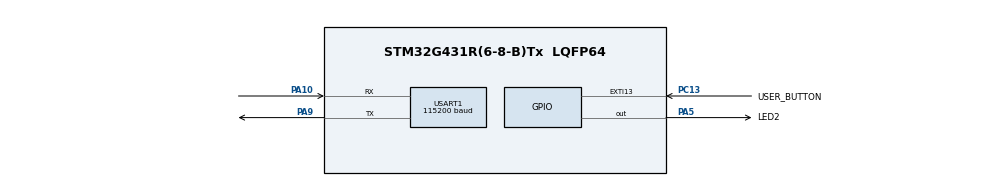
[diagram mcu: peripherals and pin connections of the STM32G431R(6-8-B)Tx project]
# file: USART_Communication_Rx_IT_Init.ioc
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Mcu.Family=STM32G4
Mcu.Name=STM32G431R(6-8-B)Tx
Mcu.Package=LQFP64
NVIC.EXTI15_10_IRQn=true\:3\:0\:true\:false\:true\:true\:true\:true
NVIC.PriorityGroup=NVIC_PRIORITYGROUP_4
NVIC.USART1_IRQn=true\:0\:0\:false\:false\:true\:true\:true\:true
PA10.GPIO_PuPd=GPIO_PULLUP
PA10.GPIO_Speed=GPIO_SPEED_FREQ_HIGH
PA10.Mode=Asynchronous
PA10.Signal=USART1_RX
PA5.GPIO_Label=LED2
PA5.GPIO_PuPd=GPIO_NOPULL
PA5.Signal=GPIO_Output
PA9.GPIO_PuPd=GPIO_PULLUP
PA9.GPIO_Speed=GPIO_SPEED_FREQ_HIGH
PA9.Mode=Asynchronous
PA9.Signal=USART1_TX
PC13.GPIO_Label=USER_BUTTON
PC13.GPIO_ModeDefaultEXTI=GPIO_MODE_IT_FALLING
PC13.GPIO_PuPd=GPIO_NOPULL
PC13.Signal=GPXTI13
ProjectManager.HeapSize=0x200
ProjectManager.StackSize=0x400
ProjectManager.TargetToolchain=EWARM V8.32
RCC.ADC12Freq_Value=170000000
RCC.AHBFreq_Value=170000000
RCC.APB1Freq_Value=170000000
RCC.APB1TimFreq_Value=170000000
RCC.APB2Freq_Value=170000000
RCC.APB2TimFreq_Value=170000000
RCC.CortexFreq_Value=170000000
RCC.EXTERNAL_CLOCK_VALUE=12288000
RCC.HCLKFreq_Value=170000000
RCC.HSE_VALUE=24000000
RCC.HSI48_VALUE=48000000
RCC.HSI_VALUE=16000000
RCC.LSE_VALUE=32768
RCC.PLLM=RCC_PLLM_DIV4
RCC.PLLN=85
RCC.SYSCLKFreq_VALUE=170000000
RCC.SYSCLKSource=RCC_SYSCLKSOURCE_PLLCLK
RCC.USBFreq_Value=170000000
RCC.VCOOutputFreq_Value=340000000
USART1.AutoBaudRateEnableParam=UART_ADVFEATURE_AUTOBAUDRATE_DISABLE
USART1.BaudRate=115200
USART1.ClockPrescaler=PRESCALER_DIV1
USART1.DMADisableonRxErrorParam=ADVFEATURE_DMA_ENABLEONRXERROR
USART1.DataInvertParam=ADVFEATURE_DATAINV_DISABLE
USART1.FIFOMode=FIFOMODE_DISABLE
USART1.MSBFirstParam=ADVFEATURE_MSBFIRST_DISABLE
USART1.Mode=MODE_TX_RX
USART1.OneBitSampling=UART_ONE_BIT_SAMPLE_DISABLE
USART1.OverSampling=UART_OVERSAMPLING_16
USART1.OverrunDisableParam=ADVFEATURE_OVERRUN_ENABLE
USART1.Parity=PARITY_NONE
USART1.RXFIFOThreshold=RXFIFO_THRESHOLD_1EIGHTHFULL
USART1.RxPinLevelInvertParam=ADVFEATURE_RXINV_DISABLE
USART1.StopBits=STOPBITS_1
USART1.SwapParam=ADVFEATURE_SWAP_DISABLE
USART1.TXFIFOThreshold=TXFIFO_THRESHOLD_1EIGHTHFULL
USART1.TxPinLevelInvertParam=ADVFEATURE_TXINV_DISABLE
USART1.VirtualMode-Asynchronous=VM_ASYNC
USART1.WordLength=WORDLENGTH_8B
VP_SYS_VS_DBSignals.Mode=DisableDeadBatterySignals
board=custom

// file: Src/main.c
/* USER CODE BEGIN Header */
/**
  ******************************************************************************
  * @file    Examples_LL/USART/USART_Communication_Rx_IT_Init/Src/main.c
  * @author  MCD Application Team
  * @brief   This example describes how to send bytes over USART IP using
  *          the STM32G4xx USART LL API.
  *          Peripheral initialization done using LL initialization function.
  ******************************************************************************
  * @attention
  *
  * Copyright (c) 2019 STMicroelectronics.
  * All rights reserved.
  *
  * This software is licensed under terms that can be found in the LICENSE file
  * in the root directory of this software component.
  * If no LICENSE file comes with this software, it is provided AS-IS.
  *
  ******************************************************************************
  */
/* USER CODE END Header */
#include "main.h"

void SystemClock_Config(void);
static void MX_GPIO_Init(void);
static void MX_USART1_UART_Init(void);
/* USER CODE BEGIN PFP */
void     LED_On(void);
void     LED_Off(void);
void     LED_Blinking(uint32_t Period);
/* USER CODE END PFP */

int main(void)
{

  /* MCU Configuration--------------------------------------------------------*/

  /* Reset of all peripherals, Initializes the Flash interface and the Systick. */

  LL_APB2_GRP1_EnableClock(LL_APB2_GRP1_PERIPH_SYSCFG);
  LL_APB1_GRP1_EnableClock(LL_APB1_GRP1_PERIPH_PWR);

  NVIC_SetPriorityGrouping(NVIC_PRIORITYGROUP_4);

  /* System interrupt init*/

  /** Disable the internal Pull-Up in Dead Battery pins of UCPD peripheral
  */
  LL_PWR_DisableUCPDDeadBattery();

  /* Configure the system clock */
  SystemClock_Config();

  /* Initialize all configured peripherals */
  MX_GPIO_Init();
  MX_USART1_UART_Init();
  /* USER CODE BEGIN 2 */

  /* Polling USART initialisation */
  while ((!(LL_USART_IsActiveFlag_TEACK(USART1))) || (!(LL_USART_IsActiveFlag_REACK(USART1))))
  {
  }

  /* Enable RXNE and Error interrupts */
  LL_USART_EnableIT_RXNE(USART1);
  LL_USART_EnableIT_ERROR(USART1);

  /* Set LED2 Off */
  LED_Off();

  /* USER CODE END 2 */

  /* Infinite loop */
  while (1)
  {

  }
}

void SystemClock_Config(void)
{
  LL_FLASH_SetLatency(LL_FLASH_LATENCY_4);
  while(LL_FLASH_GetLatency() != LL_FLASH_LATENCY_4)
  {
  }
  LL_PWR_EnableRange1BoostMode();
  LL_RCC_HSI_Enable();
   /* Wait till HSI is ready */
  while(LL_RCC_HSI_IsReady() != 1)
  {
  }

  LL_RCC_HSI_SetCalibTrimming(64);
  LL_RCC_PLL_ConfigDomain_SYS(LL_RCC_PLLSOURCE_HSI, LL_RCC_PLLM_DIV_4, 85, LL_RCC_PLLR_DIV_2);
  LL_RCC_PLL_EnableDomain_SYS();
  LL_RCC_PLL_Enable();
   /* Wait till PLL is ready */
  while(LL_RCC_PLL_IsReady() != 1)
  {
  }

  LL_RCC_SetSysClkSource(LL_RCC_SYS_CLKSOURCE_PLL);
  LL_RCC_SetAHBPrescaler(LL_RCC_SYSCLK_DIV_2);
   /* Wait till System clock is ready */
  while(LL_RCC_GetSysClkSource() != LL_RCC_SYS_CLKSOURCE_STATUS_PLL)
  {
  }

  /* Insure 1µs transition state at intermediate medium speed clock based on DWT */
  CoreDebug->DEMCR |= CoreDebug_DEMCR_TRCENA_Msk;
  DWT->CTRL |= DWT_CTRL_CYCCNTENA_Msk;
  DWT->CYCCNT = 0;
  while(DWT->CYCCNT < 100);
  /* Set AHB prescaler*/
  LL_RCC_SetAHBPrescaler(LL_RCC_SYSCLK_DIV_1);
  LL_RCC_SetAPB1Prescaler(LL_RCC_APB1_DIV_1);
  LL_RCC_SetAPB2Prescaler(LL_RCC_APB2_DIV_1);

  LL_Init1msTick(170000000);

  LL_SetSystemCoreClock(170000000);
}

static void MX_USART1_UART_Init(void)
{

  LL_USART_InitTypeDef USART_InitStruct = {0};

  LL_GPIO_InitTypeDef GPIO_InitStruct = {0};

  LL_RCC_SetUSARTClockSource(LL_RCC_USART1_CLKSOURCE_PCLK2);

  /* Peripheral clock enable */
  LL_APB2_GRP1_EnableClock(LL_APB2_GRP1_PERIPH_USART1);

  LL_AHB2_GRP1_EnableClock(LL_AHB2_GRP1_PERIPH_GPIOA);
  /**USART1 GPIO Configuration
  PA9   ------> USART1_TX
  PA10   ------> USART1_RX
  */
  GPIO_InitStruct.Pin = LL_GPIO_PIN_9;
  GPIO_InitStruct.Mode = LL_GPIO_MODE_ALTERNATE;
  GPIO_InitStruct.Speed = LL_GPIO_SPEED_FREQ_HIGH;
  GPIO_InitStruct.OutputType = LL_GPIO_OUTPUT_PUSHPULL;
  GPIO_InitStruct.Pull = LL_GPIO_PULL_UP;
  GPIO_InitStruct.Alternate = LL_GPIO_AF_7;
  LL_GPIO_Init(GPIOA, &GPIO_InitStruct);

  GPIO_InitStruct.Pin = LL_GPIO_PIN_10;
  GPIO_InitStruct.Mode = LL_GPIO_MODE_ALTERNATE;
  GPIO_InitStruct.Speed = LL_GPIO_SPEED_FREQ_HIGH;
  GPIO_InitStruct.OutputType = LL_GPIO_OUTPUT_PUSHPULL;
  GPIO_InitStruct.Pull = LL_GPIO_PULL_UP;
  GPIO_InitStruct.Alternate = LL_GPIO_AF_7;
  LL_GPIO_Init(GPIOA, &GPIO_InitStruct);

  /* USART1 interrupt Init */
  NVIC_SetPriority(USART1_IRQn, NVIC_EncodePriority(NVIC_GetPriorityGrouping(),0, 0));
  NVIC_EnableIRQ(USART1_IRQn);

  USART_InitStruct.PrescalerValue = LL_USART_PRESCALER_DIV1;
  USART_InitStruct.BaudRate = 115200;
  USART_InitStruct.DataWidth = LL_USART_DATAWIDTH_8B;
  USART_InitStruct.StopBits = LL_USART_STOPBITS_1;
  USART_InitStruct.Parity = LL_USART_PARITY_NONE;
  USART_InitStruct.TransferDirection = LL_USART_DIRECTION_TX_RX;
  USART_InitStruct.HardwareFlowControl = LL_USART_HWCONTROL_NONE;
  USART_InitStruct.OverSampling = LL_USART_OVERSAMPLING_16;
  LL_USART_Init(USART1, &USART_InitStruct);
  LL_USART_SetTXFIFOThreshold(USART1, LL_USART_FIFOTHRESHOLD_1_8);
  LL_USART_SetRXFIFOThreshold(USART1, LL_USART_FIFOTHRESHOLD_1_8);
  LL_USART_DisableFIFO(USART1);
  LL_USART_ConfigAsyncMode(USART1);

  LL_USART_Enable(USART1);

  /* Polling USART1 initialisation */
  while((!(LL_USART_IsActiveFlag_TEACK(USART1))) || (!(LL_USART_IsActiveFlag_REACK(USART1))))
  {
  }

}

static void MX_GPIO_Init(void)
{
  LL_EXTI_InitTypeDef EXTI_InitStruct = {0};
  LL_GPIO_InitTypeDef GPIO_InitStruct = {0};

  /* GPIO Ports Clock Enable */
  LL_AHB2_GRP1_EnableClock(LL_AHB2_GRP1_PERIPH_GPIOC);
  LL_AHB2_GRP1_EnableClock(LL_AHB2_GRP1_PERIPH_GPIOA);

  /**/
  LL_GPIO_ResetOutputPin(LED2_GPIO_Port, LED2_Pin);

  /**/
  LL_SYSCFG_SetEXTISource(LL_SYSCFG_EXTI_PORTC, LL_SYSCFG_EXTI_LINE13);

  /**/
  EXTI_InitStruct.Line_0_31 = LL_EXTI_LINE_13;
  EXTI_InitStruct.LineCommand = ENABLE;
  EXTI_InitStruct.Mode = LL_EXTI_MODE_IT;
  EXTI_InitStruct.Trigger = LL_EXTI_TRIGGER_FALLING;
  LL_EXTI_Init(&EXTI_InitStruct);

  /**/
  LL_GPIO_SetPinPull(USER_BUTTON_GPIO_Port, USER_BUTTON_Pin, LL_GPIO_PULL_NO);

  /**/
  LL_GPIO_SetPinMode(USER_BUTTON_GPIO_Port, USER_BUTTON_Pin, LL_GPIO_MODE_INPUT);

  /**/
  GPIO_InitStruct.Pin = LED2_Pin;
  GPIO_InitStruct.Mode = LL_GPIO_MODE_OUTPUT;
  GPIO_InitStruct.Speed = LL_GPIO_SPEED_FREQ_LOW;
  GPIO_InitStruct.OutputType = LL_GPIO_OUTPUT_PUSHPULL;
  GPIO_InitStruct.Pull = LL_GPIO_PULL_NO;
  LL_GPIO_Init(LED2_GPIO_Port, &GPIO_InitStruct);

  /* EXTI interrupt init*/
  NVIC_SetPriority(EXTI15_10_IRQn, NVIC_EncodePriority(NVIC_GetPriorityGrouping(),3, 0));
  NVIC_EnableIRQ(EXTI15_10_IRQn);

}

/* USER CODE BEGIN 4 */

/**
  * @brief  Turn-on LED2.
  * @param  None
  * @retval None
  */
void LED_On(void)
{
  /* Turn LED2 on */
  LL_GPIO_SetOutputPin(LED2_GPIO_Port, LED2_Pin);
}

/**
  * @brief  Turn-off LED2.
  * @param  None
  * @retval None
  */
void LED_Off(void)
{
  /* Turn LED2 off */
  LL_GPIO_ResetOutputPin(LED2_GPIO_Port, LED2_Pin);
}

/**
  * @brief  Set LED2 to Blinking mode for an infinite loop (toggle period based on value provided as input parameter).
  * @param  Period : Period of time (in ms) between each toggling of LED
  *   This parameter can be user defined values. Pre-defined values used in that example are :
  *     @arg LED_BLINK_FAST : Fast Blinking
  *     @arg LED_BLINK_SLOW : Slow Blinking
  *     @arg LED_BLINK_ERROR : Error specific Blinking
  * @retval None
  */
void LED_Blinking(uint32_t Period)
{
  /* Toggle LED2 in an infinite loop */
  while (1)
  {
    LL_GPIO_TogglePin(LED2_GPIO_Port, LED2_Pin);
    LL_mDelay(Period);
  }
}

/******************************************************************************/
/*   USER IRQ HANDLER TREATMENT Functions                                     */
/******************************************************************************/
/**
  * @brief  Function to manage User push-button
  * @param  None
  * @retval None
  */
void UserButton_Callback(void)
{
  /* Turn LED2 Off on User button press (allow to restart sequence) */
  LED_Off();
}

/**
  * @brief  Function called from USART IRQ Handler when RXNE flag is set
  *         Function is in charge of reading character received on USART RX line.
  * @param  None
  * @retval None
  */
void USART_CharReception_Callback(void)
{
  __IO uint32_t received_char;

  /* Read Received character. RXNE flag is cleared by reading of RDR register */
  received_char = LL_USART_ReceiveData8(USART1);

  /* Check if received value is corresponding to specific one : S or s */
  if ((received_char == 'S') || (received_char == 's'))
  {
    /* Turn LED2 On : Expected character has been received */
    LED_On();
  }

  /* Echo received character on TX */
  LL_USART_TransmitData8(USART1, received_char);
}

/**
  * @brief  Function called in case of error detected in USART IT Handler
  * @param  None
  * @retval None
  */
void Error_Callback(void)
{
  __IO uint32_t isr_reg;

  /* Disable USARTx_IRQn */
  NVIC_DisableIRQ(USART1_IRQn);

  /* Error handling example :
    - Read USART ISR register to identify flag that leads to IT raising
    - Perform corresponding error handling treatment according to flag
  */
  isr_reg = LL_USART_ReadReg(USART1, ISR);
  if (isr_reg & LL_USART_ISR_NE)
  {
    /* case Noise Error flag is raised : ... */
    LED_Blinking(LED_BLINK_FAST);
  }
  else
  {
    /* Unexpected IT source : Set LED to Blinking mode to indicate error occurs */
    LED_Blinking(LED_BLINK_ERROR);
  }
}

/* USER CODE END 4 */

void Error_Handler(void)
{
}
